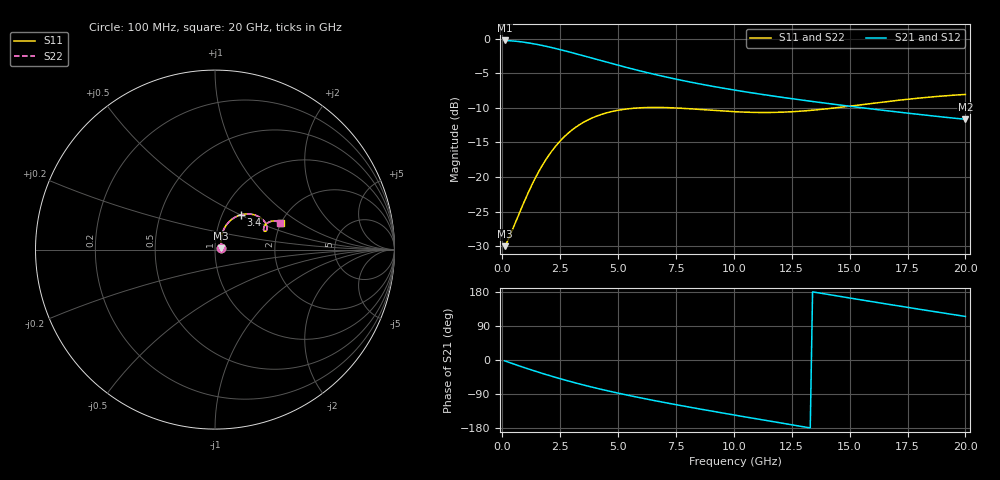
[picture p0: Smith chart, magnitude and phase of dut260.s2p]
! Touchstone file exported from HFSS 2024.1.0
!  File:  C:/UserFiles/LocalFiles/RDL_TSV_Batchsim/temp_RDL_TSV_260_1779458823.aedt
!  Generated:  10:22:41 PM May 22, 2026
!  Design:  RDL_TSV
!  Project:  temp_RDL_TSV_260_1779458823
!  Setup:  Setup1
!  Solution:  Sweep
! Variables:
!  dtsv = 10.26um
!  hbump = 3um
!  htsv = 83.51um
!  ldown = 674.47um
!  lrdl = 348.69um
!  p = 40
!  p1 = 50.86um
!  rhole = 10um
!  subl = 3418.17um
!  t = 450um
!  tdown = 2.4um
!  trdl = 3.47um
!  viad = 10um
!  wdown = 12.89um
!  wrdl = 16.94um
!  xbump = 18um
# GHz S MA R 50.000000
! Terminal data exported
! Port[1] = TM1_1_T1
! Port[2] = TM1_4_T1
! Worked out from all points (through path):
!   200 points, 100 MHz to 20 GHz, reference 50 ohm
!   highest |S21| = -0.28 dB at 100 MHz (marker M1); lowest = -11.7 dB at 20 GHz (marker M2)
!   group delay of S21, straight-line fit = 32 ps
!   lowest |S11| = -30.0 dB at 100 MHz (marker M3), VSWR 1.07, Z = 53.2 + j0.659 ohm
!   |S11| at or under -10 dB: start of sweep to 6.003 GHz; 7.266 GHz to 14.43 GHz (7.161 GHz wide, 66 % of centre)
!   |S22| runs from -30.0 to -8.1 dB; largest |S21 - S12| = 8.2e-15
!   S11 on the Smith chart (normalised r, x): 100 MHz: 1.06, +0.01; 3.4 GHz: 1.23, +0.50; 20 GHz: 1.98, +0.71
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0.1  0.0316 11.3  0.9687 -2.2  0.9687 -2.2  0.0316 11.3
! Gamma 0 0 0 0
! Port Impedance 50 0 50 0
0.3  0.03661 29.5  0.9653 -6.5  0.9653 -6.5  0.03661 29.5
0.8  0.05799 54.6  0.9473 -17.0  0.9473 -17.0  0.05799 54.5
1.3  0.08913 64.7  0.9199 -27.1  0.9199 -27.1  0.08911 64.7
1.7  0.1191 66.5  0.8931 -34.8  0.8931 -34.8  0.119 66.5
2.1  0.1507 65.3  0.8633 -42.3  0.8633 -42.3  0.1507 65.3
2.5  0.1819 62.3  0.8317 -49.4  0.8317 -49.4  0.1818 62.3
2.9  0.2109 58.4  0.7994 -56.2  0.7994 -56.2  0.2108 58.4
3.4  0.2423 53.2  0.7591 -64.3  0.7591 -64.3  0.2422 53.2
3.5  0.2479 52.1  0.7512 -65.9  0.7512 -65.9  0.2477 52.1
4.2  0.28 44.9  0.6975 -76.3  0.6975 -76.3  0.2799 44.9
5.1  0.3052 36.9  0.635 -88.8  0.635 -88.8  0.305 36.8
5.9  0.3155 31.0  0.5866 -99.0  0.5866 -99.0  0.3154 31.0
6.8  0.3178 26.0  0.54 -109.8  0.54 -109.8  0.3176 26.0
8.4  0.3085 20.9  0.4744 -127.9  0.4744 -127.9  0.3083 20.9
10.1  0.2957 20.1  0.4223 -146.1  0.4223 -146.1  0.2955 20.1
11.7  0.2925 22.3  0.3841 -162.8  0.3841 -162.8  0.2922 22.2
13.4  0.3035 25.3  0.3508 179.8  0.3508 179.8  0.3031 25.2
15.1  0.3262 26.9  0.3226 162.6  0.3226 162.6  0.3257 26.9
16.7  0.3517 26.7  0.2995 146.7  0.2995 146.7  0.351 26.6
18.3  0.3753 25.0  0.2793 131.1  0.2793 131.1  0.3744 25.0
20  0.3946 22.4  0.2609 114.9  0.2609 114.9  0.3935 22.3
